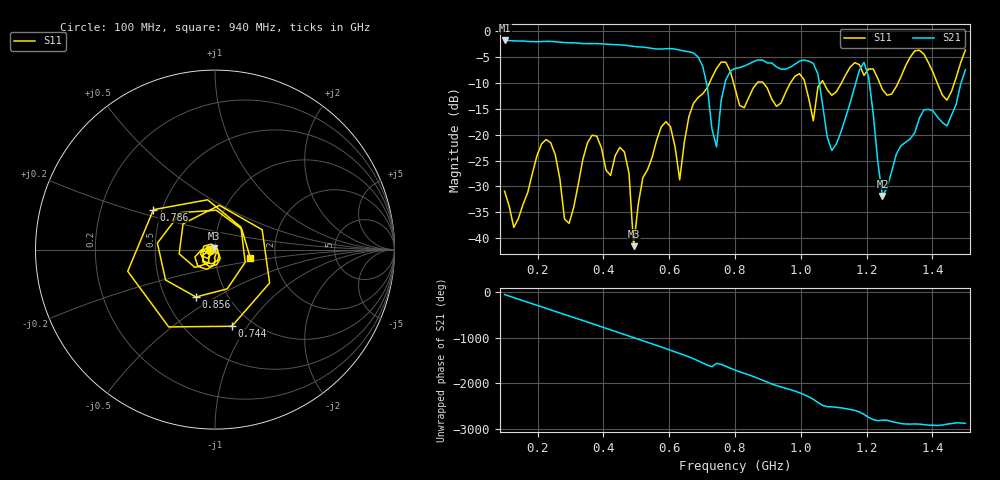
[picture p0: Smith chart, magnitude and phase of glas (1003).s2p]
! NanoVNA-App
! Date: 2025-09-25 16:03:16
! Start: 100MHz Stop: 1,5GHz Points: 101
! S-Parameter data: F S11 S21 S12 S22
# Hz S RI R 50
!  Frequency  S11_Real  S11_Imag  S21_Real  S21_Imag  S12_Real  S12_Imag  S22_Real  S22_Imag
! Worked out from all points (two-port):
!   101 points, 100 MHz to 1.5 GHz, reference 50 ohm
!   highest |S21| = -1.80 dB at 100 MHz (marker M1); lowest = -31.9 dB at 1.248 GHz (marker M2)
!   |S21| within 3 dB of the highest: start of sweep to 684.5 MHz
!   lowest |S11| = -41.5 dB at 492 MHz (marker M3), VSWR 1.02, Z = 49.5 + j0.66 ohm
!   |S11| at or under -10 dB: start of sweep to 722.5 MHz; 795.5 MHz to 867.6 MHz (72.05 MHz wide, 8.66 % of centre); 886.2 MHz to 968.3 MHz (82.09 MHz wide, 8.85 % of centre) (the widest 3 of 7)
!   S12 and S22 are empty: the file has one direction only
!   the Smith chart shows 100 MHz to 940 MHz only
!   S11 on the Smith chart (normalised r, x): 100 MHz: 0.94, -0.01; 744 MHz: 0.81, -0.85; 786 MHz: 0.45, +0.24; 856 MHz: 0.71, -0.41; 940 MHz: 1.48, -0.15
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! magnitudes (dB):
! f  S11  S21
! 100 MHz  -30.9  -1.8
! 128 MHz  -37.9  -1.9
! 226 MHz  -20.9  -2.0
! 296 MHz  -37.1  -2.2
! 338 MHz  -24.7  -2.4
! 464 MHz  -23.3  -2.7
! 492 MHz  -41.5  -2.9
! 576 MHz  -18.5  -3.5
! 632 MHz  -28.7  -3.7
! 702 MHz  -12.1  -6.8
! 744 MHz  -7.2  -22.4
! 786 MHz  -7.8  -7.7
! 800 MHz  -11.0  -7.2
! 856 MHz  -10.9  -5.9
! 940 MHz  -13.9  -7.4
! 996 MHz  -8.2  -5.8
! 1.038 GHz  -17.3  -6.2
! 1.094 GHz  -12.4  -23.1
! 1.192 GHz  -8.5  -6.0
! 1.248 GHz  -11.3  -31.9
! 1.276 GHz  -12.2  -27.1
! 1.5 GHz  -3.6  -7.5
